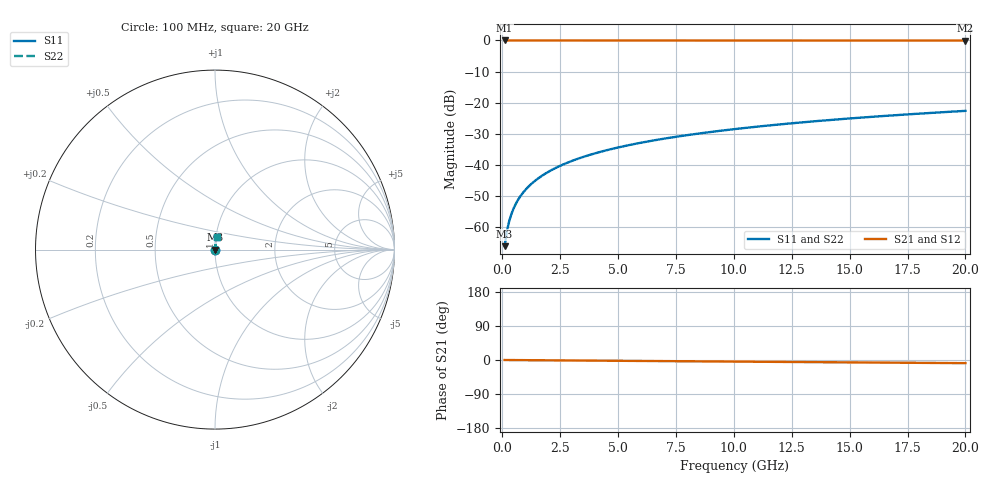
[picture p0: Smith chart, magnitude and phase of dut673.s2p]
! Touchstone file exported from HFSS 2026.1.0
!  File:  C:/ffzhzh/LocalFiles/Ansys_Project_Files/temp_train_TSV_673_1783027184_46388.aedt
!  Generated:  05:21:57 AM Jul  3, 2026
!  Design:  TSV
!  Project:  temp_train_TSV_673_1783027184_46388
! Variables:
!  h_bsmrdl = 2um
!  h_ox = 20um
!  h_rdl = 5um
!  h_sub = 66.07um
!  h_tmrdl = 5um
!  h_tsv = 66.07um
!  h_via = 3um
!  l_bsmrdl = 300um
!  l_sub = 411.2um
!  l_tmrdl = 200um
!  m_sub = 200um
!  pitch = 50.38um
!  r_tsv = 5.6um
!  s_tmrdl = 10um
!  w_bsmrdl = 18um
!  w_sub = 500um
!  w_tmrdl = 12um
!  x_tsv_center1 = 206um
!  x_tsv_center2 = 524um
!  x_tsv_center3 = 736um
!  x_tsv_center4 = 1054um
!  x_tsv_center5 = 1266um
!  x_tsv_center6 = 1584um
# GHz S MA R 50.000000
! Terminal data exported
! Port[1] = TSV1_1_T1
! Port[2] = TSV1_1_T2
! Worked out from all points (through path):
!   200 points, 100 MHz to 20 GHz, reference 50 ohm
!   highest |S21| = 0.00 dB at 100 MHz (marker M1); lowest = 0.0 dB at 20 GHz (marker M2)
!   group delay of S21, straight-line fit = 1.15 ps
!   lowest |S11| = -66.2 dB at 100 MHz (marker M3), VSWR 1.00, Z = 50 + j0.0407 ohm
!   |S11| at or under -10 dB: start of sweep to end of sweep
!   |S22| runs from -66.2 to -22.7 dB; largest |S21 - S12| = 3.3e-15
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0.1  0.0004911 56.0  0.9997 -0.0  0.9997 -0.0  0.0004911 56.0
! Gamma 0 0 0 0
! Port Impedance 50 0 50 0
0.2  0.0008604 70.7  0.9997 -0.1  0.9997 -0.1  0.0008604 70.7
0.3  0.00125 76.2  0.9997 -0.1  0.9997 -0.1  0.00125 76.2
0.4  0.001642 78.9  0.9997 -0.2  0.9997 -0.2  0.001642 78.9
0.5  0.002033 80.5  0.9997 -0.2  0.9997 -0.2  0.002033 80.5
0.6  0.002421 81.6  0.9997 -0.3  0.9997 -0.3  0.002421 81.6
0.7  0.002807 82.3  0.9996 -0.3  0.9996 -0.3  0.002807 82.3
0.8  0.003192 82.9  0.9996 -0.3  0.9996 -0.3  0.003192 82.9
1  0.003956 83.7  0.9996 -0.4  0.9996 -0.4  0.003956 83.7
1.4  0.005478 84.7  0.9995 -0.6  0.9995 -0.6  0.005478 84.7
1.7  0.006616 85.1  0.9995 -0.7  0.9995 -0.7  0.006616 85.1
2  0.007752 85.3  0.9994 -0.9  0.9994 -0.9  0.007752 85.3
2.7  0.0104 85.6  0.9994 -1.1  0.9994 -1.1  0.0104 85.6
3.5  0.0134 85.6  0.9992 -1.5  0.9992 -1.5  0.0134 85.6
4.2  0.01601 85.6  0.9991 -1.8  0.9991 -1.8  0.01601 85.6
5  0.01899 85.4  0.999 -2.1  0.999 -2.1  0.01899 85.4
6.8  0.02564 85.0  0.9987 -2.9  0.9987 -2.9  0.02564 85.0
8.3  0.03116 84.6  0.9984 -3.5  0.9984 -3.5  0.03116 84.6
10.1  0.03776 84.0  0.9981 -4.2  0.9981 -4.2  0.03776 84.0
13.4  0.04982 82.9  0.9974 -5.6  0.9974 -5.6  0.04982 82.9
16.7  0.0618 81.7  0.9966 -7.0  0.9966 -7.0  0.0618 81.7
20  0.07369 80.4  0.9956 -8.3  0.9956 -8.3  0.07369 80.4
